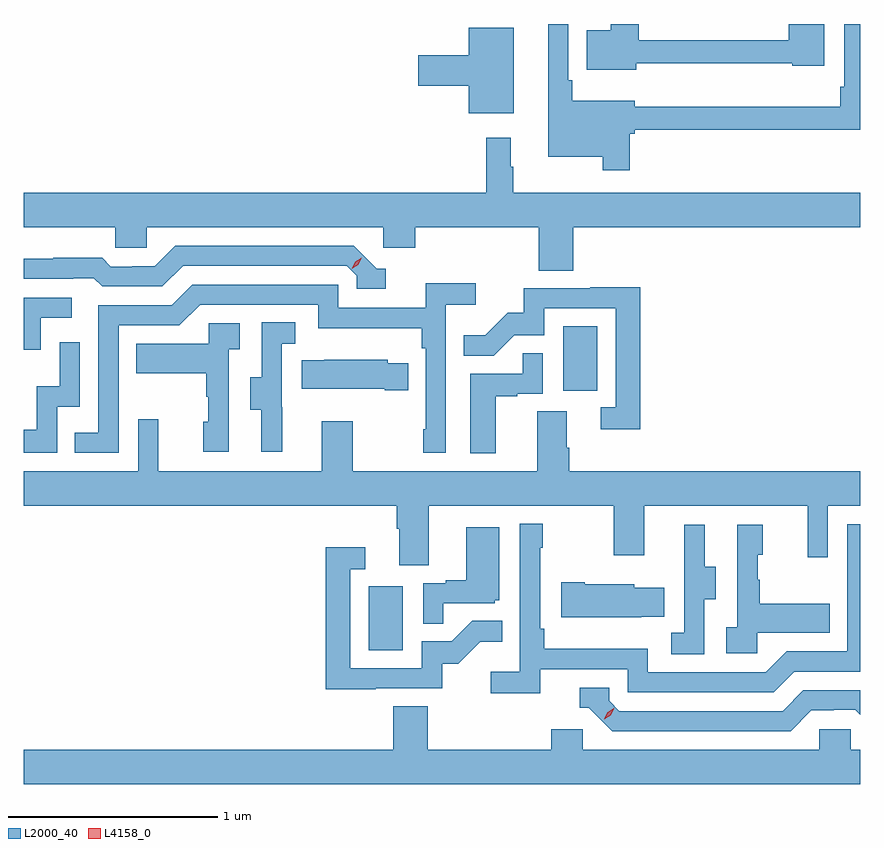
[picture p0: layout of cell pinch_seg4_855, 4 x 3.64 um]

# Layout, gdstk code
import gdstk
lib = gdstk.Library(unit=1e-6, precision=1e-09)
def R(c, l, rs):  # rectangles x0, y0, x1, y1
    for r in rs: c.add(gdstk.rectangle(r[:2], r[2:], *l))
def P(c, l, *ps):  # polygons
    for p in ps: c.add(gdstk.Polygon(p, *l))
L2000_40 = (2000, 40)
L4158_0 = (4158, 0)

pinch_seg4_855 = lib.new_cell('pinch_seg4_855')
R(pinch_seg4_855, L2000_40, [(854.408,792.132,854.572,792.439), (855.338,793.374,855.502,793.681)])
P(pinch_seg4_855, L2000_40, [(855.688,794.939),(856.434,794.939),(856.434,794.927),(856.588,794.927),(856.588,795.127),(856.418,795.127),(856.418,795.049),(855.701,795.049),(855.701,795.127),(855.566,795.127),(855.566,795.097),(855.452,795.097),(855.452,794.909),(855.688,794.909)],
  [(855.656,794.603),(855.682,794.603),(855.682,794.622),(856.759,794.622),(856.759,795.127),(856.683,795.127),(856.683,794.827),(856.663,794.827),(856.663,794.732),(855.682,794.732),(855.682,794.761),(855.383,794.761),(855.383,794.857),(855.363,794.857),(855.363,795.127),(855.266,795.127),(855.266,794.492),(855.528,794.492),(855.528,794.427),(855.656,794.427)],
  [(855.103,795.109),(854.888,795.109),(854.888,794.978),(854.646,794.978),(854.646,794.831),(854.888,794.831),(854.888,794.699),(855.103,794.699)],
  [(855.386,794.156),(856.759,794.156),(856.759,794.32),(855.1,794.32),(855.1,794.444),(855.088,794.444),(855.088,794.584),(854.971,794.584),(854.971,794.32),(852.759,794.32),(852.759,794.156),(853.197,794.156),(853.197,794.058),(853.347,794.058),(853.347,794.156),(854.478,794.156),(854.478,794.058),(854.63,794.058),(854.63,794.156),(855.221,794.156),(855.221,793.948),(855.386,793.948)],
  [(854.491,793.956),(854.448,793.956),(854.337,794.067),(853.484,794.067),(853.385,793.968),(853.278,793.968),(853.278,793.965),(853.175,793.965),(853.133,794.008),(852.9,794.008),(852.9,794.005),(852.759,794.005),(852.759,793.908),(852.995,793.908),(852.995,793.911),(853.094,793.911),(853.133,793.872),(853.422,793.872),(853.521,793.971),(854.304,793.971),(854.352,793.923),(854.352,793.86),(854.491,793.86)],
  [(853.212,793.686),(853.503,793.686),(853.602,793.785),(854.166,793.785),(854.166,793.673),(854.662,793.673),(854.662,793.577),(854.682,793.577),(854.682,793.189),(854.67,793.189),(854.67,793.077),(854.778,793.077),(854.778,793.784),(854.92,793.784),(854.92,793.886),(854.681,793.886),(854.681,793.77),(854.262,793.77),(854.262,793.881),(853.565,793.881),(853.466,793.782),(853.116,793.782),(853.116,793.173),(853.003,793.173),(853.003,793.077),(853.212,793.077)],
  [(855.707,793.868),(855.469,793.868),(855.469,793.863),(855.151,793.863),(855.151,793.746),(855.074,793.746),(854.967,793.639),(854.863,793.639),(854.863,793.54),(855.006,793.54),(855.104,793.638),(855.249,793.638),(855.249,793.767),(855.591,793.767),(855.591,793.293),(855.519,793.293),(855.519,793.188),(855.707,793.188)],
  [(852.84,793.722),(852.988,793.722),(852.988,793.818),(852.759,793.818),(852.759,793.569),(852.84,793.569)],
  [(853.994,793.293),(853.992,793.293),(853.992,793.597),(854.056,793.597),(854.056,793.7),(853.896,793.7),(853.896,793.437),(853.841,793.437),(853.841,793.282),(853.895,793.282),(853.895,793.08),(853.994,793.08)],
  [(853.74,793.571),(853.792,793.571),(853.792,793.695),(853.644,793.695),(853.644,793.597),(853.297,793.597),(853.297,793.457),(853.632,793.457),(853.632,793.343),(853.642,793.343),(853.642,793.224),(853.616,793.224),(853.616,793.08),(853.74,793.08)],
  [(852.918,793.296),(853.026,793.296),(853.026,793.606),(852.93,793.606),(852.93,793.394),(852.821,793.394),(852.821,793.186),(852.759,793.186),(852.759,793.077),(852.918,793.077)],
  [(855.016,793.347),(855.119,793.347),(855.119,793.359),(855.24,793.359),(855.24,793.553),(855.145,793.553),(855.145,793.455),(854.894,793.455),(854.894,793.073),(855.016,793.073)],
  [(854.597,793.504),(854.499,793.504),(854.499,793.522),(854.197,793.522),(854.197,793.519),(854.089,793.519),(854.089,793.382),(854.486,793.382),(854.486,793.375),(854.597,793.375)],
  [(854.695,792.824),(855.58,792.824),(855.58,792.585),(855.727,792.585),(855.727,792.824),(856.508,792.824),(856.508,792.576),(856.605,792.576),(856.605,792.824),(856.759,792.824),(856.759,792.988),(855.368,792.988),(855.368,793.1),(855.355,793.1),(855.355,793.274),(855.215,793.274),(855.215,792.988),(854.331,792.988),(854.331,793.228),(854.183,793.228),(854.183,792.988),(853.403,792.988),(853.403,793.237),(853.305,793.237),(853.305,792.988),(852.759,792.988),(852.759,792.824),(854.543,792.824),(854.543,792.712),(854.555,792.712),(854.555,792.538),(854.695,792.538)],
  [(855.23,792.042),(855.648,792.042),(855.648,791.931),(856.345,791.931),(856.444,792.03),(856.759,792.03),(856.759,792.735),(856.698,792.735),(856.698,792.126),(856.407,792.126),(856.308,792.027),(855.744,792.027),(855.744,792.139),(855.248,792.139),(855.248,792.235),(855.228,792.235),(855.228,792.623),(855.241,792.623),(855.241,792.736),(855.132,792.736),(855.132,792.028),(854.991,792.028),(854.991,791.926),(855.23,791.926)],
  [(856.014,792.376),(856.069,792.376),(856.069,792.531),(856.015,792.531),(856.015,792.733),(855.917,792.733),(855.917,792.519),(855.918,792.519),(855.918,792.215),(855.855,792.215),(855.855,792.112),(856.014,792.112)],
  [(856.266,792.215),(856.613,792.215),(856.613,792.355),(856.279,792.355),(856.279,792.47),(856.269,792.47),(856.269,792.588),(856.294,792.588),(856.294,792.733),(856.17,792.733),(856.17,792.242),(856.119,792.242),(856.119,792.117),(856.266,792.117)],
  [(854.765,792.357),(855.012,792.357),(855.012,792.372),(855.034,792.372),(855.034,792.721),(854.876,792.721),(854.876,792.466),(854.777,792.466),(854.777,792.453),(854.67,792.453),(854.67,792.259),(854.765,792.259)],
  [(854.441,791.949),(854.76,791.949),(854.76,792.066),(854.836,792.066),(854.943,792.173),(855.047,792.173),(855.047,792.272),(854.903,792.272),(854.805,792.174),(854.661,792.174),(854.661,792.045),(854.319,792.045),(854.319,792.519),(854.392,792.519),(854.392,792.625),(854.203,792.625),(854.203,791.944),(854.441,791.944)],
  [(855.713,792.293),(855.821,792.293),(855.821,792.43),(855.678,792.43),(855.678,792.448),(855.442,792.448),(855.442,792.456),(855.33,792.456),(855.33,792.29),(855.713,792.29)],
  [(856.525,791.844),(856.632,791.844),(856.632,791.847),(856.735,791.847),(856.759,791.823),(856.759,791.94),(856.488,791.94),(856.389,791.841),(855.606,791.841),(855.558,791.889),(855.558,791.952),(855.419,791.952),(855.419,791.856),(855.462,791.856),(855.573,791.745),(856.426,791.745)],
  [(856.759,791.656),(856.713,791.656),(856.713,791.754),(856.563,791.754),(856.563,791.656),(855.432,791.656),(855.432,791.754),(855.281,791.754),(855.281,791.656),(854.69,791.656),(854.69,791.864),(854.525,791.864),(854.525,791.656),(852.759,791.656),(852.759,791.492),(856.759,791.492)])
P(pinch_seg4_855, L4158_0, [(854.328,793.957),(854.328,793.957),(854.344,793.99),(854.375,794.009),(854.375,794.009),(854.375,794.009),(854.359,793.976),(854.328,793.957)],
  [(855.536,791.802),(855.536,791.803),(855.551,791.835),(855.581,791.855),(855.582,791.855),(855.582,791.855),(855.566,791.822),(855.536,791.802)])

lib.write_gds('pinch_seg4_855.gds')
